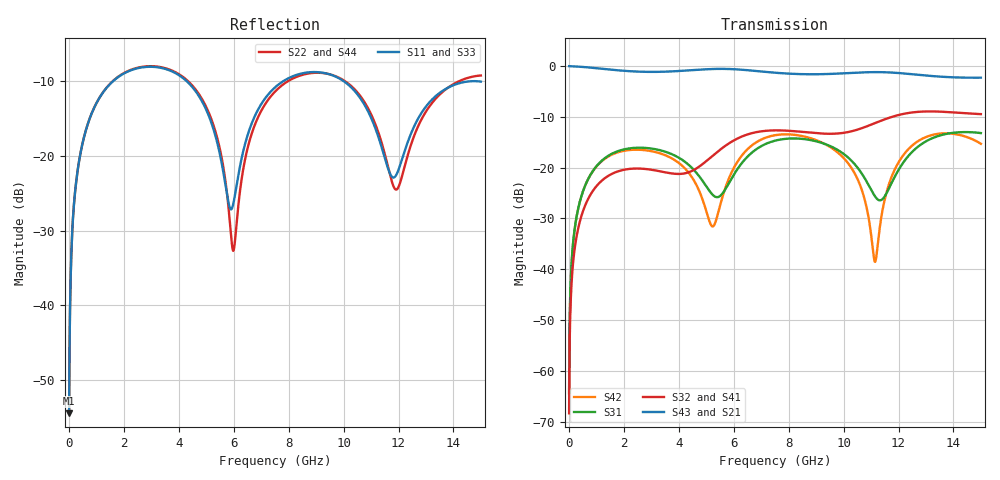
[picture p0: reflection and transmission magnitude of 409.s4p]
! Created with skrf 1.8.0 (http://scikit-rf.org).
# GHz S RI R 50.0
!freq ReS11 ImS11 ReS12 ImS12 ReS13 ImS13
! ReS14 ImS14
! ReS21 ImS21 ReS22 ImS22 ReS23 ImS23
! ReS24 ImS24
! ReS31 ImS31 ReS32 ImS32 ReS33 ImS33
! ReS34 ImS34
! ReS41 ImS41 ReS42 ImS42 ReS43 ImS43
! ReS44 ImS44
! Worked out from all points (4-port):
!   2499 points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, 5 MHz to 15 GHz, reference 50 ohm
!   strongest paths, dB at 5 MHz, 3.476 GHz, 7.19 GHz, 11.1 GHz, 15 GHz:
!     S43: 0.0, -1.1, -1.2, -1.2, -2.3
!     S21: 0.0, -1.1, -1.2, -1.2, -2.3
!     S32: -68.4, -20.9, -12.7, -11.3, -9.5
!     S41: -68.4, -21.0, -12.8, -11.3, -9.5
!     S31: -64.4, -16.8, -15.3, -25.3, -13.2
!     S42: -64.4, -17.5, -14.0, -37.5, -15.3
!   lowest |S11| = -54.4 dB at 5 MHz (marker M1), VSWR 1.00, Z = 50.2 + j0.115 ohm
!   |S11| at or under -10 dB: start of sweep to 1.616 GHz; 4.275 GHz to 7.819 GHz (3.544 GHz wide, 58.6 % of centre); 9.989 GHz to end of sweep
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0.005  0.00151 0.00115  0.9985 -0.00295  7.56e-05 0.000597  -7.34e-05 -0.000374
       0.9985 -0.00295  0.00151 0.00115  -7.34e-05 -0.000374  7.54e-05 0.000597
       7.56e-05 0.000597  -7.34e-05 -0.000374  0.00151 0.00115  0.9985 -0.00295
       -7.34e-05 -0.000374  7.54e-05 0.000597  0.9985 -0.00295  0.00151 0.00115
0.3126303  0.0209 0.0762  0.9714 -0.1839  0.00981 0.0357  -0.00788 -0.0223
           0.9714 -0.1839  0.021 0.0762  -0.00789 -0.0223  0.00911 0.0358
           0.00981 0.0357  -0.00789 -0.0223  0.0209 0.0762  0.9714 -0.1839
           -0.00788 -0.0223  0.00911 0.0358  0.9714 -0.1839  0.0211 0.0762
1.519383  0.2384 0.1892  0.613 -0.6898  0.1197 0.0629  -0.084 -0.0165
          0.613 -0.6898  0.2412 0.1877  -0.0841 -0.0164  0.1102 0.0738
          0.1197 0.0629  -0.0841 -0.0164  0.2384 0.1893  0.6129 -0.6898
          -0.084 -0.0165  0.1102 0.0738  0.6129 -0.6898  0.2413 0.1877
5.752397  0.0449 -0.0325  -0.9249 -0.1542  -0.0467 0.0454  -0.0276 0.1661
          -0.9249 -0.1542  0.0255 -0.0503  -0.0244 0.1666  0.0297 0.0633
          -0.0467 0.0454  -0.0244 0.1666  0.0456 -0.0338  -0.9248 -0.1543
          -0.0276 0.1661  0.0297 0.0633  -0.9248 -0.1543  0.0256 -0.0514
9.297624  0.3522 -0.0589  0.0381 0.8333  0.1445 -0.0935  0.2006 -0.0727
          0.0381 0.8333  0.3526 -0.0475  0.2005 -0.0806  0.1503 -0.0837
          0.1445 -0.0935  0.2005 -0.0806  0.3512 -0.0559  0.0392 0.8331
          0.2006 -0.0727  0.1503 -0.0837  0.0392 0.8331  0.3538 -0.0515
11.14214  0.109 -0.1104  0.7352 0.4704  -0.044 -0.0283  0.1462 -0.2323
          0.7352 0.4704  0.1088 -0.124  0.1357 -0.2387  -0.0115 -0.0027
          -0.044 -0.0283  0.1357 -0.2387  0.1138 -0.1082  0.7361 0.4686
          0.1462 -0.2323  -0.0115 -0.0027  0.7361 0.4686  0.1047 -0.1272
15  0.3122 -0.0189  0.1368 -0.7592  0.1603 -0.1493  -0.3334 0.00276
    0.1368 -0.7592  0.3436 -0.000888  -0.3362 0.0206  0.1626 -0.0556
    0.1603 -0.1493  -0.3362 0.0206  0.3132 -0.0177  0.1324 -0.7581
    -0.3334 0.00276  0.1626 -0.0556  0.1324 -0.7581  0.3512 -0.0028
